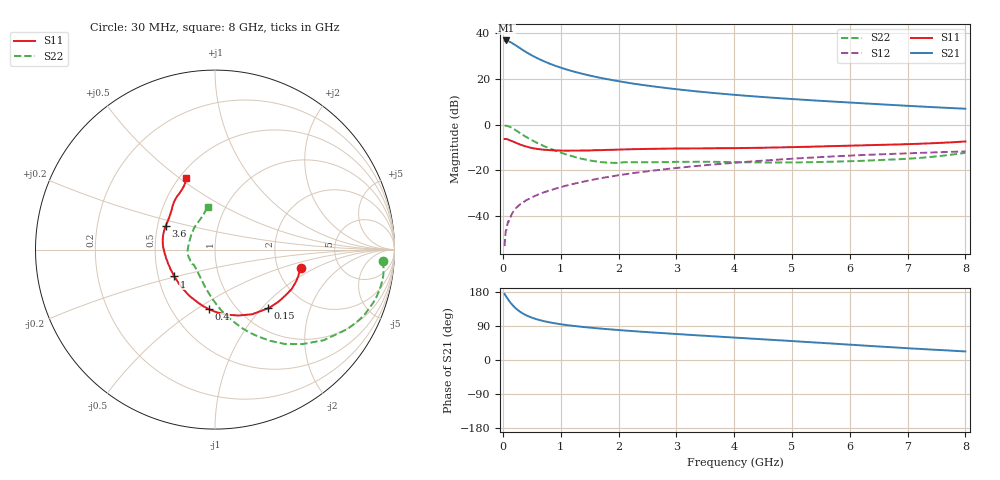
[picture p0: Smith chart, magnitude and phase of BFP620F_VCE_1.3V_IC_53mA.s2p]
! Infineon Technologies  Discrete & RF Semiconductors
! BFP620F
! VCE =  1.3 V,  IC =  53 mA
! Common Emitter S-Parameters:  Dec 2014
# GHz  S  MA  R  50
!  f  S11  S21  S12  S22
! GHz  MAG  ANG  MAG  ANG  MAG  ANG  MAG  ANG
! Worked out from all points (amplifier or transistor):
!   95 points, 30 MHz to 8 GHz, reference 50 ohm
!   highest |S21| = 36.9 dB at 60 MHz (marker M1)
!   |S21| within 3 dB of that: start of sweep to 274.2 MHz
!   unconditionally stable (mu >= 1): 1.856 GHz to end of sweep
!   at 300 MHz: K = 0.51, MSG = 34.1 dB, |S12| = -34.8 dB
!   at 3.3 GHz: K = 1.03, MAG = 15.4 dB, |S12| = -18.2 dB
!   at 8 GHz: K = 1.05, MAG = 7.9 dB, |S12| = -11.7 dB
!   S11 on the Smith chart (normalised r, x): 30 MHz: 2.68, -0.71; 150 MHz: 1.34, -1.08; 400 MHz: 0.75, -0.56; 1 GHz: 0.61, -0.20; 3.6 GHz: 0.55, +0.16; 8 GHz: 0.54, +0.53
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0.03  0.4869 -11.9  68.32 174.2  0.0022 84.8  0.9387 -3.9
0.06  0.4858 -21.0  69.67 167.0  0.0049 93.5  0.9476 -11.1
0.08  0.4799 -27.4  68.79 162.2  0.0066 88.2  0.9378 -16.2
0.1  0.4668 -33.7  66.95 157.7  0.0075 78.6  0.9199 -20.6
0.15  0.4409 -47.9  62.16 147.9  0.0108 76.0  0.8591 -31.1
0.2  0.4157 -60.0  56.78 139.7  0.014 74.0  0.7879 -39.9
0.25  0.3895 -70.6  51.66 132.8  0.016 69.7  0.7174 -47.2
0.3  0.3679 -79.9  46.93 127.1  0.0182 68.7  0.653 -53.6
0.35  0.3496 -88.4  42.61 122.3  0.02 68.2  0.5943 -58.8
0.4  0.3338 -95.9  38.95 118.3  0.0221 67.9  0.5424 -63.4
0.5  0.3093 -108.2  32.88 111.8  0.0257 67.5  0.4603 -71.2
0.6  0.2947 -118.9  28.28 106.8  0.0293 67.3  0.3957 -77.7
0.8  0.2782 -134.8  21.87 99.6  0.0361 67.3  0.3049 -88.5
1  0.2719 -146.7  17.73 94.4  0.0431 67.5  0.2453 -98.1
1.4  0.2731 -163.5  12.77 87.0  0.057 66.9  0.1757 -117.6
1.9  0.2826 -177.5  9.42 80.3  0.0747 65.3  0.1462 -141.6
2.7  0.2981 167.3  6.639 71.6  0.1024 61.1  0.1515 -162.3
3.6  0.3044 154.4  4.998 62.9  0.1333 55.6  0.1541 -174.8
4.1  0.3082 148.2  4.406 58.3  0.1502 52.2  0.1514 178.3
5.4  0.3322 136.2  3.387 46.2  0.1927 42.8  0.1521 154.3
6.7  0.3664 124.3  2.718 33.9  0.2288 32.7  0.1723 128.5
8  0.4296 111.9  2.234 22.5  0.26 22.9  0.2421 99.7
